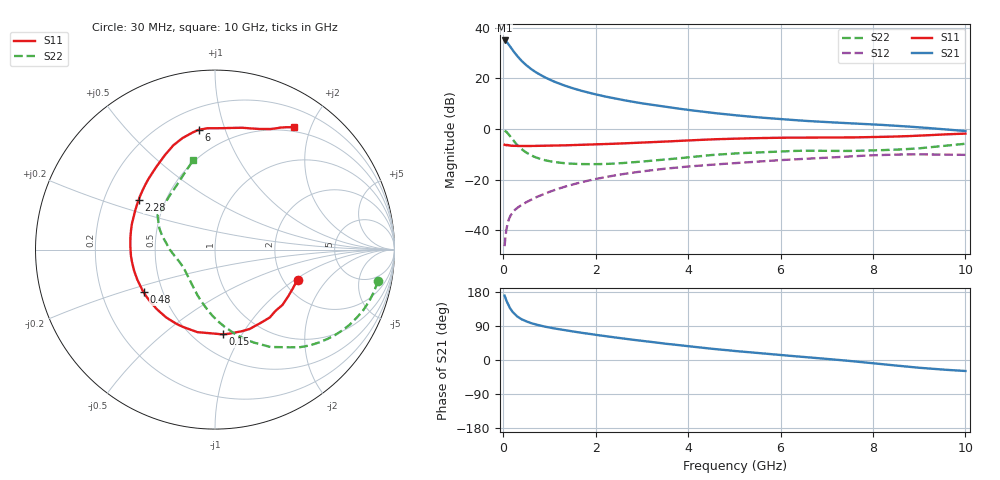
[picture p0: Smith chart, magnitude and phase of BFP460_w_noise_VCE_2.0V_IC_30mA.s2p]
! (c) 2016  Infineon Technologies AG, Munich
! Infineon Technologies  Discrete & RF Semiconductors
! BFP460
! VCE =  2.0 V,  IC =  30 mA
! Common Emitter S-Parameters:  Jan 2016
# GHz  S  MA  R  50
!  f  S11  S21  S12  S22
! GHz  MAG  ANG  MAG  ANG  MAG  ANG  MAG  ANG
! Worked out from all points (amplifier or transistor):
!   229 points, 30 MHz to 10 GHz, reference 50 ohm
!   highest |S21| = 34.9 dB at 30 MHz (marker M1)
!   |S21| within 3 dB of that: start of sweep to 172.9 MHz
!   unconditionally stable (mu >= 1): 1.446 GHz to 7.822 GHz
!   at 280 MHz: K = 0.53, MSG = 30.4 dB, |S12| = -31.5 dB
!   at 1.78 GHz: K = 1.02, MAG = 16.8 dB, |S12| = -20.6 dB
!   at 10 GHz: K = 0.98, MSG = 4.7 dB, |S12| = -10.2 dB
!   lowest NFmin = 1.47 dB at 450 MHz
!   S11 on the Smith chart (normalised r, x): 30 MHz: 2.38, -1.04; 150 MHz: 0.68, -0.83; 480 MHz: 0.39, -0.24; 2.28 GHz: 0.35, +0.26; 6 GHz: 0.33, +0.82; 10 GHz: 0.44, +1.75
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0.03  0.4895 -19.9  55.79 170.0  0.0049 84.3  0.9245 -10.9
0.05  0.484 -32.5  54.12 162.5  0.0078 80.2  0.9061 -18.5
0.07  0.4798 -45.5  52.45 156.2  0.0104 74.3  0.876 -25.7
0.09  0.4816 -57.0  50.04 150.5  0.0131 70.8  0.8394 -32.5
0.12  0.4789 -71.6  46.15 142.8  0.0163 66.2  0.7789 -41.5
0.15  0.4742 -84.7  42.24 136.1  0.0191 62.8  0.7173 -49.4
0.2  0.4703 -102.0  36.49 127.3  0.0224 58.8  0.6248 -60.3
0.24  0.4663 -112.6  32.57 121.9  0.0247 57.2  0.563 -67.1
0.3  0.4657 -125.5  27.75 115.2  0.0277 55.9  0.4877 -76.2
0.4  0.4631 -140.6  21.99 107.3  0.0319 55.5  0.4004 -87.5
0.48  0.463 -149.1  18.8 102.9  0.0353 56.1  0.3533 -94.6
0.7  0.4658 -165.2  13.28 93.8  0.0445 58.0  0.2771 -109.8
0.9  0.4695 -174.9  10.47 88.1  0.0532 59.2  0.243 -119.8
1.2  0.4744 174.1  7.935 81.3  0.0668 59.7  0.2178 -131.1
1.7  0.4866 160.3  5.656 71.7  0.0897 58.2  0.2038 -144.4
2.28  0.5073 147.1  4.245 61.8  0.1158 54.4  0.206 -157.1
3.4  0.5598 126.8  2.833 44.8  0.1612 45.0  0.2455 -178.0
5.1  0.6501 105.2  1.84 22.9  0.2157 31.7  0.3334 158.5
6  0.674 97.6  1.57 13.1  0.2438 24.9  0.3632 151.3
6.8  0.6759 90.8  1.403 5.0  0.2661 19.1  0.372 147.5
8.4  0.7075 72.3  1.176 -13.4  0.3122 4.6  0.389 131.9
10  0.8125 57.1  0.913 -29.0  0.3097 -8.1  0.5123 103.7
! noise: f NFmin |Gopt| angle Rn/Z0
0.45  1.47  0.19  -172  0.12
0.9  1.49  0.17  -164  0.13
1.9  1.61  0.28  -144  0.13
3.5  1.51  0.49  -120  0.18
